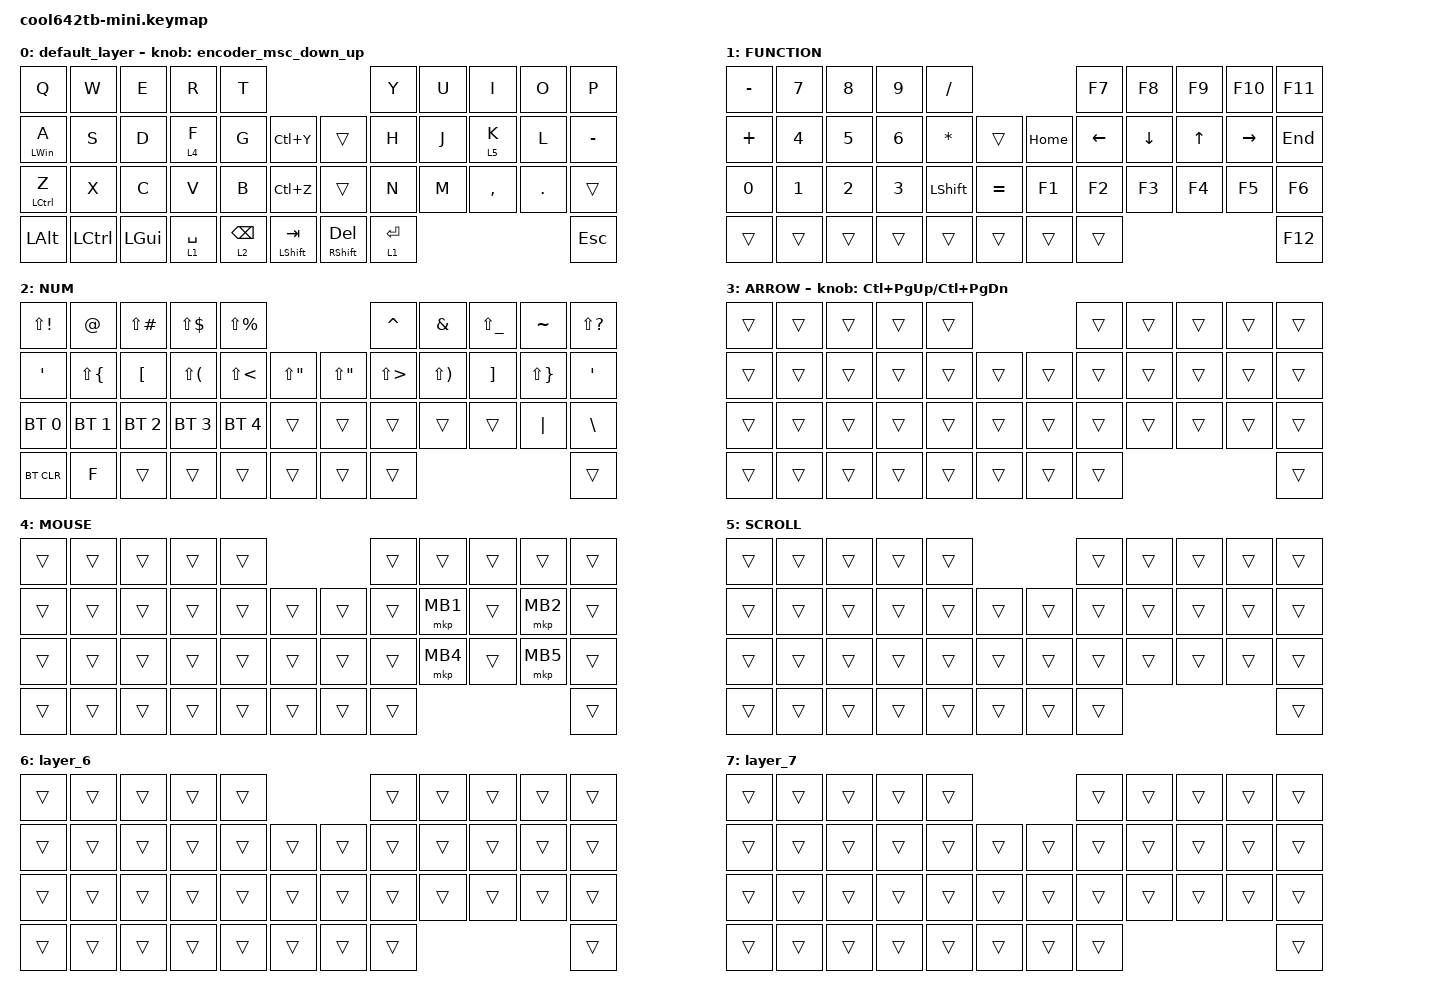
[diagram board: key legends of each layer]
#include <behaviors.dtsi>
#include <dt-bindings/zmk/bt.h>
#include <dt-bindings/zmk/keys.h>
#include <dt-bindings/zmk/pointing.h>

#define MOUSE 4
#define SCROLL 5
#define NUM 6
#define ZMK_POINTING_DEFAULT_SCRL_VAL 80

&mt {
    flavor = "balanced";
    quick-tap-ms = <0>;
};

/ {
    combos {
        compatible = "zmk,combos";

        shift_tab {
            bindings = <&kp LANG2>;
            key-positions = <12 13>;
        };

        lang {
            bindings = <&kp LANG1>;
            key-positions = <18 19>;
        };
    };

    behaviors {
        encoder_msc_down_up: encoder_msc_down_up {
            compatible = "zmk,behavior-sensor-rotate";
            label = "ENCODER_MSC_DOWN_UP";
            #sensor-binding-cells = <0>;
            bindings = <&msc SCRL_UP>, <&msc SCRL_DOWN>;

            tap-ms = <20>;
        };
    };

    keymap {
        compatible = "zmk,keymap";

        default_layer {
            bindings = <
&kp Q               &kp W      &kp E         &kp R        &kp T                                                  &kp Y        &kp U  &kp I      &kp O    &kp P
&mt LEFT_WIN A      &kp S      &kp D         &lt 4 F      &kp G            &kp LC(Y)           &trans            &kp H        &kp J  &lt 5 K    &kp L    &kp MINUS
&mt LEFT_CONTROL Z  &kp X      &kp C         &kp V        &kp B            &kp LC(Z)           &trans            &kp N        &kp M  &kp COMMA  &kp DOT  &trans
&kp LEFT_ALT        &kp LCTRL  &kp LEFT_GUI  &lt 1 SPACE  &lt 2 BACKSPACE  &mt LSHIFT TAB      &mt RSHFT DELETE  &lt 1 ENTER                             &kp ESC
            >;

            sensor-bindings = <&encoder_msc_down_up>;
        };

        FUNCTION {
            bindings = <
&kp MINUS  &kp N7  &kp N8  &kp N9  &kp SLASH                                &kp F7    &kp F8    &kp F9  &kp F10    &kp F11
&kp PLUS   &kp N4  &kp N5  &kp N6  &kp ASTERISK    &trans         &kp HOME  &kp LEFT  &kp DOWN  &kp UP  &kp RIGHT  &kp END
&kp N0     &kp N1  &kp N2  &kp N3  &kp LEFT_SHIFT  &kp EQUAL      &kp F1    &kp F2    &kp F3    &kp F4  &kp F5     &kp F6
&trans     &trans  &trans  &trans  &trans          &trans         &trans    &trans                                 &kp F12
            >;
        };

        NUM {
            bindings = <
&kp LS(EXCL)  &kp AT        &kp LS(POUND)  &kp LS(DLLR)  &kp LS(PRCNT)                                                        &kp CARET             &kp AMPERSAND  &kp LS(UNDER)  &kp TILDE     &kp LS(QUESTION)
&kp SQT       &kp LS(LBRC)  &kp LBKT       &kp LS(LPAR)  &kp LS(LESS_THAN)  &kp LS(DOUBLE_QUOTES)      &kp LS(DOUBLE_QUOTES)  &kp LS(GREATER_THAN)  &kp LS(RPAR)   &kp RBKT       &kp LS(RBRC)  &kp SQT
&bt BT_SEL 0  &bt BT_SEL 1  &bt BT_SEL 2   &bt BT_SEL 3  &bt BT_SEL 4       &trans                     &trans                 &trans                &trans         &trans         &kp PIPE      &kp BACKSLASH
&bt BT_CLR    &kp F         &trans         &trans        &trans             &trans                     &trans                 &trans                                                            &trans
            >;
        };

        ARROW {
            bindings = <
&trans  &trans  &trans  &trans  &trans                      &trans  &trans  &trans  &trans  &trans
&trans  &trans  &trans  &trans  &trans  &trans      &trans  &trans  &trans  &trans  &trans  &trans
&trans  &trans  &trans  &trans  &trans  &trans      &trans  &trans  &trans  &trans  &trans  &trans
&trans  &trans  &trans  &trans  &trans  &trans      &trans  &trans                          &trans
            >;

            sensor-bindings = <&inc_dec_kp LC(PAGE_UP) LC(PAGE_DOWN)>;
        };

        MOUSE {
            bindings = <
&trans  &trans  &trans  &trans  &trans                      &trans  &trans    &trans  &trans    &trans
&trans  &trans  &trans  &trans  &trans  &trans      &trans  &trans  &mkp MB1  &trans  &mkp MB2  &trans
&trans  &trans  &trans  &trans  &trans  &trans      &trans  &trans  &mkp MB4  &trans  &mkp MB5  &trans
&trans  &trans  &trans  &trans  &trans  &trans      &trans  &trans                              &trans
            >;
        };

        SCROLL {
            bindings = <
&trans  &trans  &trans  &trans  &trans                      &trans  &trans  &trans  &trans  &trans
&trans  &trans  &trans  &trans  &trans  &trans      &trans  &trans  &trans  &trans  &trans  &trans
&trans  &trans  &trans  &trans  &trans  &trans      &trans  &trans  &trans  &trans  &trans  &trans
&trans  &trans  &trans  &trans  &trans  &trans      &trans  &trans                          &trans
            >;
        };

        layer_6 {
            bindings = <
&trans  &trans  &trans  &trans  &trans                      &trans  &trans  &trans  &trans  &trans
&trans  &trans  &trans  &trans  &trans  &trans      &trans  &trans  &trans  &trans  &trans  &trans
&trans  &trans  &trans  &trans  &trans  &trans      &trans  &trans  &trans  &trans  &trans  &trans
&trans  &trans  &trans  &trans  &trans  &trans      &trans  &trans                          &trans
            >;
        };

        layer_7 {
            bindings = <
&trans  &trans  &trans  &trans  &trans                      &trans  &trans  &trans  &trans  &trans
&trans  &trans  &trans  &trans  &trans  &trans      &trans  &trans  &trans  &trans  &trans  &trans
&trans  &trans  &trans  &trans  &trans  &trans      &trans  &trans  &trans  &trans  &trans  &trans
&trans  &trans  &trans  &trans  &trans  &trans      &trans  &trans                          &trans
            >;
        };
    };
};
